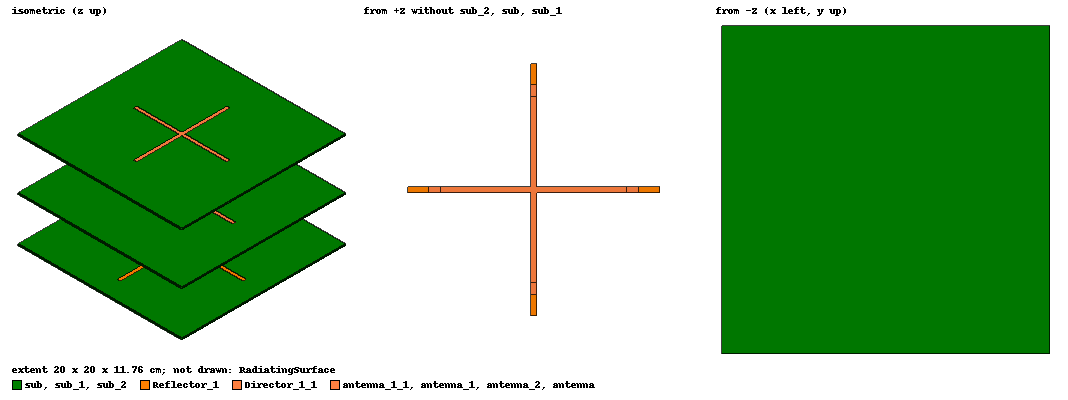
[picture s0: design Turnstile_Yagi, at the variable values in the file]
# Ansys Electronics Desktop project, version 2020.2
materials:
  vacuum: permittivity=1
  Rogers RO4350 (tm): permittivity=3.66 dielectric_loss_tangent=0.004
  Rogers RO4350 (mtl): permittivity=3.48 dielectric_loss_tangent=0.004
  copper: permeability=0.999991 conductivity=58000000
  IT-180ATC: permittivity=4.7 dielectric_loss_tangent=0.004

design Turnstile_Yagi (HFSS, DrivenModal, model units cm)
options: Allow_Material_Override
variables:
  # --Antenna Dimensions
  dipole_length = 12.8cm
  Antenna_Width = 0.38cm
  Port_Gap_Width = 1cm
  reflector_length = 15.4cm
  reflector_spacing = 5.4cm
  director_length = 11.4cm
  director_spacing = 6.2cm
  # --Substrate Dimensions
  subH = 0.1575cm
  subX = 20cm
  subY = 20cm
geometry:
  sub [Rogers RO4350 (tm)] = box(corner=(-subX/2, -subY/2, 0cm), size=(subX, subY, -subH))
  antenna = rectangle(corner=(-Antenna_Width/2, Port_Gap_Width/2, 0cm), x_size=Antenna_Width, y_size=dipole_length/2-Port_Gap_Width/2)
  antenna_1 = antenna.duplicate_around_axis(axis=Z, angle=180deg, total=2)
  port1 = rectangle(corner=(-Antenna_Width/2, -Port_Gap_Width/2, 0cm), x_size=Antenna_Width, y_size=Port_Gap_Width)
  RadiatingSurface [vacuum] = region(absolute_offset=10.928962cm on all sides)
  port1_1 = port1.duplicate_along_line(step=(0cm, 0cm, -0.1575cm), total=2)
  antenna_2 = antenna.duplicate_along_line(step=(0cm, 0cm, -0.1575cm), total=2)
  antenna_1_1 = antenna_1.duplicate_along_line(step=(0cm, 0cm, -0.1575cm), total=2)
  [antenna_1_1, port1_1, antenna_2].rotate(axis=Z, angle=90deg)
  Reflector_1 = rectangle(corner=(-Antenna_Width/2, -reflector_length/2, -reflector_spacing), x_size=Antenna_Width, y_size=reflector_length)
  Reflector_1_1 = Reflector_1.duplicate_around_axis(axis=Z, angle=90deg, total=2)
  sub_1 [Rogers RO4350 (tm)] = sub.duplicate_along_line(step=(0cm, 0cm, -reflector_spacing), total=2)
  Reflector_1.unite(Reflector_1_1)
  Director_1 = rectangle(corner=(-director_length/2, -Antenna_Width/2, director_spacing), x_size=director_length, y_size=Antenna_Width)
  Director_1_1 = Director_1.duplicate_around_axis(axis=Z, angle=90deg, total=2)
  sub_2 [Rogers RO4350 (tm)] = sub.duplicate_along_line(step=(0cm, 0cm, director_spacing), total=2)
  Director_1_1.unite(Director_1)
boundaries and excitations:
  antennaMetal: Perfect E Objects=[antenna, antenna_1]
  Open1: Radiation Objects=RadiatingSurface
  antennaMetal1: Perfect E Objects=[antenna_2, antenna_1_1]
  reflector_metal: Perfect E Objects=Reflector_1
  director_metal: Perfect E Objects=Director_1_1
  1: Lumped Port Objects=port1 Modes{Mode1{IntLine{middle of port1.edge(y at corner) -> middle of port1.edge(y opposite corner)} CharImp=Zpi RenormImp=50ohm}} Impedance=50ohm
  2: Lumped Port Objects=port1_1 Modes{Mode1{IntLine{middle of port1_1.edge(1 of 4) -> middle of port1_1.edge(3 of 4)} CharImp=Zpi RenormImp=50ohm}} Impedance=50ohm
  reference conductors: antenna
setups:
  ATK_Solution: HfssDriven Frequency=0.915GHz MaxDeltaS=0.02 MaximumPasses=15 MinimumPasses=1 MinimumConvergedPasses=1 PercentRefinement=30 BasisOrder=1 PortAccuracy=2 IESolverType=ACA
    sweep FF_Sweep: 0.8GHz to 1GHz step 0.005GHz; Type=Discrete SaveFields
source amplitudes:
  1:1: 1W 0deg
  2:1: 1W 90deg
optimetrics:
  Dipole_width: Parametric Sim._Setups=[ATK_Solution]
    sweep Antenna_Width: LIN 0.19cm 0.57cm 0.05cm
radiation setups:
  3D: Infinite Sphere Theta=0deg..180deg step 2deg Phi=-180deg..180deg step 2deg
  Elevation: Infinite Sphere Theta=-180deg..180deg step 1deg Phi=-90deg..90deg step 45deg
  Azimuth: Infinite Sphere Theta=90deg..90deg step 0deg Phi=-180deg..180deg step 1deg
  ATK_2D: Infinite Sphere Theta=-180deg..180deg step 1deg Phi=0deg..90deg step 90deg
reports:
  Terminal S Parameter Plot 1: dB(St(1,1)) vs Freq on ATK_Solution : FF_Sweep [Antenna_Width=0.38cm]; markers m1 at 0.915GHz, m2 at 0.91GHz, m3 at 0.92GHz, m4 at 0.88GHz, m5 at 0.885GHz, m6 at 0.83GHz
  Terminal Z Parameter Plot 2: re(Zt(1,1)), im(Zt(1,1)) vs Freq on ATK_Solution : FF_Sweep [Antenna_Width=0.38cm]; markers m1 at 0.91GHz, m2 at 0.91GHz, m3 at 0.915GHz, m4 at 0.915GHz, MX1 at x=9.1502379e+08
  Gain Plot 1: GainLHCP vs Phi on ATK_Solution : LastAdaptive, 3D [Theta=all Freq=0.915GHz]
  Gain Plot 6: dB(GainTotal) vs Phi, Theta on ATK_Solution : LastAdaptive, 3D [Freq=0.915GHz]
  Gain Plot E-plane YoZ (polar): dB(GainTheta) vs Theta on ATK_Solution : LastAdaptive, Elevation [Phi=all Freq=0.915GHz]; markers m1 at 0deg, m2 at 1deg, m3 at 0deg, m4 at -180deg
  Polarization Ratio Plot 1: mag(PolarizationRatioSphericalPhi) vs Phi, Theta on ATK_Solution : LastAdaptive, 3D [Freq=0.915GHz Antenna_Width=0.38cm]
  Gain Plot 7: dB(GainTotal) vs Theta on ATK_Solution : LastAdaptive, ATK_2D [Phi=0deg,90deg Freq=0.915GHz Antenna_Width=all]
